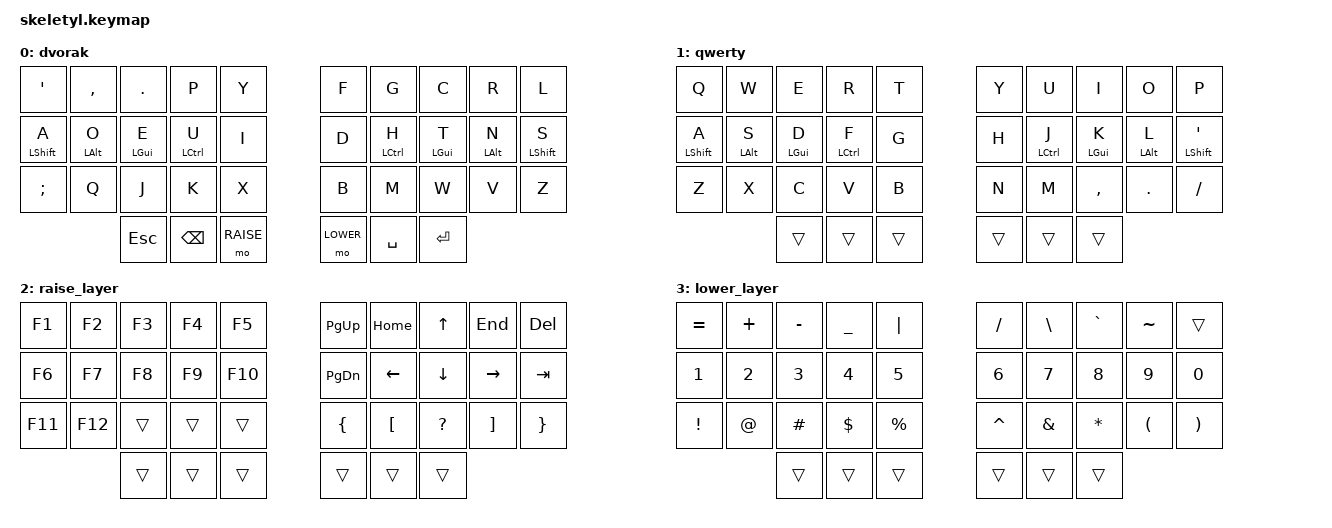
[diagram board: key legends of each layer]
/*
 * Copyright (c) 2020 The ZMK Contributors
 *
 * SPDX-License-Identifier: MIT
 */

#include <behaviors.dtsi>
#include <dt-bindings/zmk/keys.h>
#include <dt-bindings/zmk/bt.h>
#include <dt-bindings/zmk/outputs.h>

#define DVORAK  0
#define QWERTY  1
#define RAISE   2
#define LOWER   3

/ {
    behaviors {
        hm: homerow_mods {
            compatible = "zmk,behavior-hold-tap";
            label = "HOMEROW_MODS";
            #binding-cells = <2>;
            tapping-term-ms = <200>;
            quick-tap-ms = <0>;
            flavor = "balanced";
            bindings = <&kp>, <&kp>;
        };
    };

    combos {
        compatible = "zmk,combos";

        combo_tg_qwerty {
            timeout-ms = <50>;
            key-positions = <6 7 8>;
            bindings = <&tog QWERTY>;
        };

        combo_tg_output {
            timeout-ms = <50>;
            key-positions = <0 4>;
            bindings = <&out OUT_TOG>;
        };

        combo_tg_bt_reset {
            timeout-ms = <50>;
            key-positions = <10 14>;
            bindings = <&bt BT_CLR>;
        };

        combo_bootloader_reset_left {
            timeout-ms = <50>;
            key-positions = <20 24>;
            bindings = <&bootloader>;
        };

        combo_bootloader_reset_right {
            timeout-ms = <50>;
            key-positions = <25 29>;
            bindings = <&bootloader>;
        };

        combo_bt_next {
            timeout-ms = <50>;
            key-positions = <27 28>;
            bindings = <&bt BT_NXT>;
        };
        combo_bt_prev {
            timeout-ms = <50>;
            key-positions = <26 27>;
            bindings = <&bt BT_PRV>;
        };

    };

    keymap {
        compatible = "zmk,keymap";

        dvorak {  
            // ┌───┬───┬───┬───┬───┐         ┌───┬───┬───┬───┬───┐
            // │ ' │ , │ . │ P │ Y │         │ F │ G │ C │ R │ L │
            // ├───┼───┼───┼───┼───┤         ├───┼───┼───┼───┼───┤
            // │ A │ O │ E │ U │ I │         │ D │ H │ T │ N │ S │
            // ├───┼───┼───┼───┼───┤         ├───┼───┼───┼───┼───┤
            // │ ; │ Q │ J │ K │ X │         │ B │ M │ W │ V │ Z │
            // └───┴───┴───┼───┼───┼───┐ ┌───┼───┼───┼───┴───┴───┘
            //             │ESC│BSP│RAI│ │LOW│SPC│RET│
            //             └───┴───┴───┘ └───┴───┴───┘
            bindings = <
    &kp SQT        &kp COMMA      &kp DOT        &kp P          &kp Y          &kp F          &kp G           &kp C          &kp R          &kp L
    &hm LSHFT A    &hm LALT O     &hm LGUI E     &hm LCTRL U    &kp I          &kp D          &hm LCTRL H     &hm LGUI T     &hm LALT N     &hm LSHFT S
    &kp SEMI       &kp Q          &kp J          &kp K          &kp X          &kp B          &kp M           &kp W          &kp V          &kp Z
                                  &kp ESC        &kp BSPC       &mo RAISE      &mo LOWER      &kp SPACE       &kp RET
            >;
        };

        qwerty {
            // ┌───┬───┬───┬───┬───┐         ┌───┬───┬───┬───┬───┐
            // │ Q │ W │ E │ R │ T │         │ Y │ U │ I │ O │ P │
            // ├───┼───┼───┼───┼───┤         ├───┼───┼───┼───┼───┤
            // │ A │ S │ D │ F │ G │         │ H │ J │ K │ L │ ' │
            // ├───┼───┼───┼───┼───┤         ├───┼───┼───┼───┼───┤
            // │ Z │ X │ C │ V │ B │         │ N │ M │ , │ . │ / │
            // └───┴───┴───┼───┼───┼───┐ ┌───┼───┼───┼───┴───┴───┘
            //             │   │   │   │ │   │   │   │
            //             └───┴───┴───┘ └───┴───┴───┘
            bindings = <
    &kp Q          &kp W          &kp E          &kp R          &kp T          &kp Y          &kp U           &kp I          &kp O          &kp P
    &hm LSHFT A    &hm LALT S     &hm LGUI D     &hm LCTRL F    &kp G          &kp H          &hm LCTRL J     &hm LGUI K     &hm LALT L     &hm LSHFT SQT
    &kp Z          &kp X          &kp C          &kp V          &kp B          &kp N          &kp M           &kp COMMA      &kp DOT        &kp FSLH 
                                  &trans         &trans         &trans         &trans         &trans         &trans
            >;
        };

        raise_layer {
            // ┌───┬───┬───┬───┬───┐         ┌───┬───┬───┬───┬───┐
            // │F1 │F2 │F3 │F4 │F5 │         │PgU│Hom│ ↑ │End│Del│
            // ├───┼───┼───┼───┼───┤         ├───┼───┼───┼───┼───┤
            // │F6 │F7 │F8 │F9 │F10│         │PgD│ ← │ ↓ │ → │Tab│
            // ├───┼───┼───┼───┼───┤         ├───┼───┼───┼───┼───┤
            // │F11│F12│   │   │   │         │ [ │ [ │ ? │ ] │ ] │
            // └───┴───┴───┼───┼───┼───┐ ┌───┼───┼───┼───┴───┴───┘
            //             │   │   │   │ │   │   │   │
            //             └───┴───┴───┘ └───┴───┴───┘
            bindings = <
    &kp F1         &kp F2         &kp F3         &kp F4         &kp F5         &kp PG_UP      &kp HOME       &kp UP          &kp END        &kp DEL
    &kp F6         &kp F7         &kp F8         &kp F9         &kp F10        &kp PG_DN      &kp LEFT       &kp DOWN        &kp RIGHT      &kp TAB
    &kp F11        &kp F12        &trans         &trans         &trans         &kp LBRC       &kp LBKT       &kp QMARK       &kp RBKT       &kp RBRC
                                  &trans         &trans         &trans         &trans         &trans         &trans
            >;
        };

        lower_layer {
            // ┌───┬───┬───┬───┬───┐         ┌───┬───┬───┬───┬───┐
            // │ = │ + │ - │ _ │ | │         │ / │ \ │ ` │ ~ │   │
            // ├───┼───┼───┼───┼───┤         ├───┼───┼───┼───┼───┤
            // │ 1 │ 2 │ 3 │ 4 │ 5 │         │ 6 │ 7 │ 8 │ 9 │ 0 │
            // ├───┼───┼───┼───┼───┤         ├───┼───┼───┼───┼───┤
            // │ ! │ @ │ # │ $ │ % │         │ ^ │ & │ * │ ( │ ) │
            // └───┴───┴───┼───┼───┼───┐ ┌───┼───┼───┼───┴───┴───┘
            //             │   │   │   │ │   │   │   │
            //             └───┴───┴───┘ └───┴───┴───┘
            bindings = <
    &kp EQUAL      &kp PLUS       &kp MINUS      &kp UNDER      &kp PIPE       &kp FSLH       &kp BSLH       &kp GRAVE       &kp TILDE      &trans
    &kp N1         &kp N2         &kp N3         &kp N4         &kp N5         &kp N6         &kp N7         &kp N8          &kp N9         &kp N0
    &kp EXCL       &kp AT         &kp HASH       &kp DLLR       &kp PRCNT      &kp CARET      &kp AMPS       &kp ASTRK       &kp LPAR       &kp RPAR
                                  &trans         &trans         &trans         &trans         &trans         &trans
            >;
        };

        };
};
